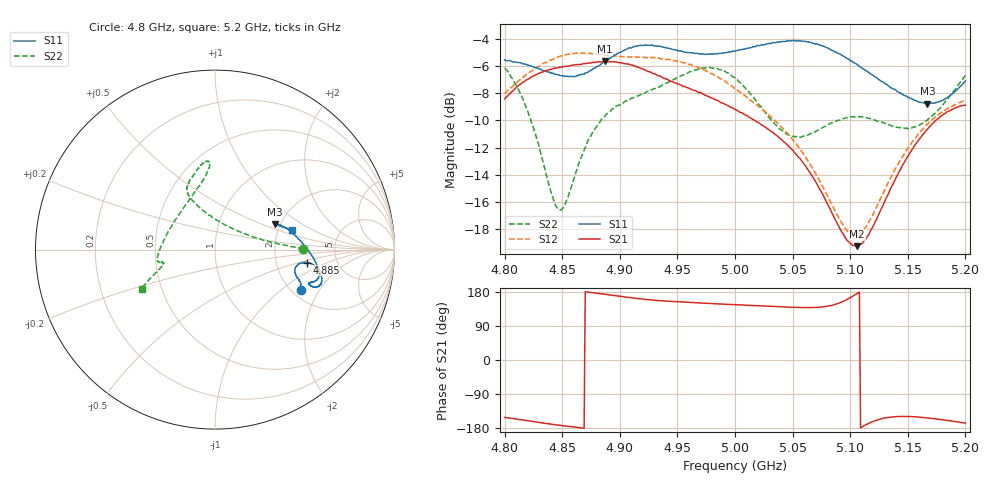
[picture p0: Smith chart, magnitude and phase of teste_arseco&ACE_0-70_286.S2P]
! Network Analyzer HP8722D
! Hewlett-Packard
! Data name: Linha & Wilkinson
! Saver's name: Rodrigo Anjos
! Comments: Teste da utilização de aquisição
! continua pelo VNA HP8722D
! Time and date: 8/5/2025 15:08
!  Frequency  S11  S21  S12  S22
# HZ  S  MA R 50
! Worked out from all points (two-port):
!   401 points, 4.8 GHz to 5.2 GHz, reference 50 ohm
!   highest |S21| = -5.65 dB at 4.887 GHz (marker M1); lowest = -19.2 dB at 5.106 GHz (marker M2)
!   |S21| within 3 dB of the highest: start of sweep to 4.987 GHz
!   lowest |S11| = -8.8 dB at 5.167 GHz (marker M3), VSWR 2.15, Z = 93.9 + j30.8 ohm
!   |S11| at or under -10 dB: nowhere
!   |S22| runs from -16.6 to -6.1 dB; largest |S21 - S12| = 1.1
!   S11 on the Smith chart (normalised r, x): 4.8 GHz: 2.24, -1.39; 4.885 GHz: 2.99, -0.59; 5.2 GHz: 2.36, +0.66
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4.8e9  0.5285 -25.0  0.3797 -151.8  0.3965 7.8  0.4926 0.5
4.818e9  0.5089 -20.8  0.4427 -159.2  0.4644 5.0  0.3595 5.0
4.846e9  0.4653 -16.4  0.4926 -171.6  0.5407 0.5  0.1504 54.8
4.853e9  0.46 -14.6  0.4995 -174.2  0.5518 -0.8  0.1573 80.9
4.867e9  0.4664 -10.9  0.5085 -179.0  0.5587 -2.7  0.234 107.9
4.885e9  0.5151 -8.1  0.5204 174.5  0.5508 -3.8  0.3209 115.4
4.887e9  0.5203 -7.8  0.5221 173.5  0.5512 -3.8  0.3282 115.4
4.913e9  0.5934 -12.0  0.5013 163.1  0.5407 -3.0  0.3858 113.7
4.934e9  0.5927 -16.5  0.4617 156.8  0.5376 -3.8  0.42 108.1
4.975e9  0.5533 -19.7  0.3902 149.6  0.4826 -7.4  0.4939 95.8
5e9  0.5685 -20.8  0.347 145.9  0.4152 -7.1  0.4538 94.6
5.018e9  0.5919 -20.6  0.3143 143.7  0.3621 -4.4  0.3752 102.5
5.043e9  0.6174 -18.5  0.2628 140.1  0.2911 1.0  0.2859 130.7
5.067e9  0.6091 -14.0  0.1979 138.4  0.2127 8.6  0.2833 165.2
5.094e9  0.5458 -4.2  0.1208 154.8  0.1302 34.7  0.3215 -173.3
5.106e9  0.5073 1.3  0.1092 175.5  0.1201 58.1  0.3263 -169.2
5.116e9  0.4755 6.3  0.1201 -167.3  0.1336 76.6  0.3223 -167.6
5.134e9  0.4215 15.5  0.1735 -151.1  0.1902 94.4  0.3043 -166.7
5.152e9  0.3815 21.4  0.2408 -149.3  0.2568 99.2  0.2968 -164.7
5.167e9  0.3645 23.0  0.2934 -152.8  0.3064 99.8  0.3172 -161.8
5.183e9  0.3809 20.5  0.3368 -159.0  0.3471 99.7  0.3729 -157.5
5.2e9  0.4417 14.7  0.36 -166.4  0.3739 100.3  0.4631 -152.0
